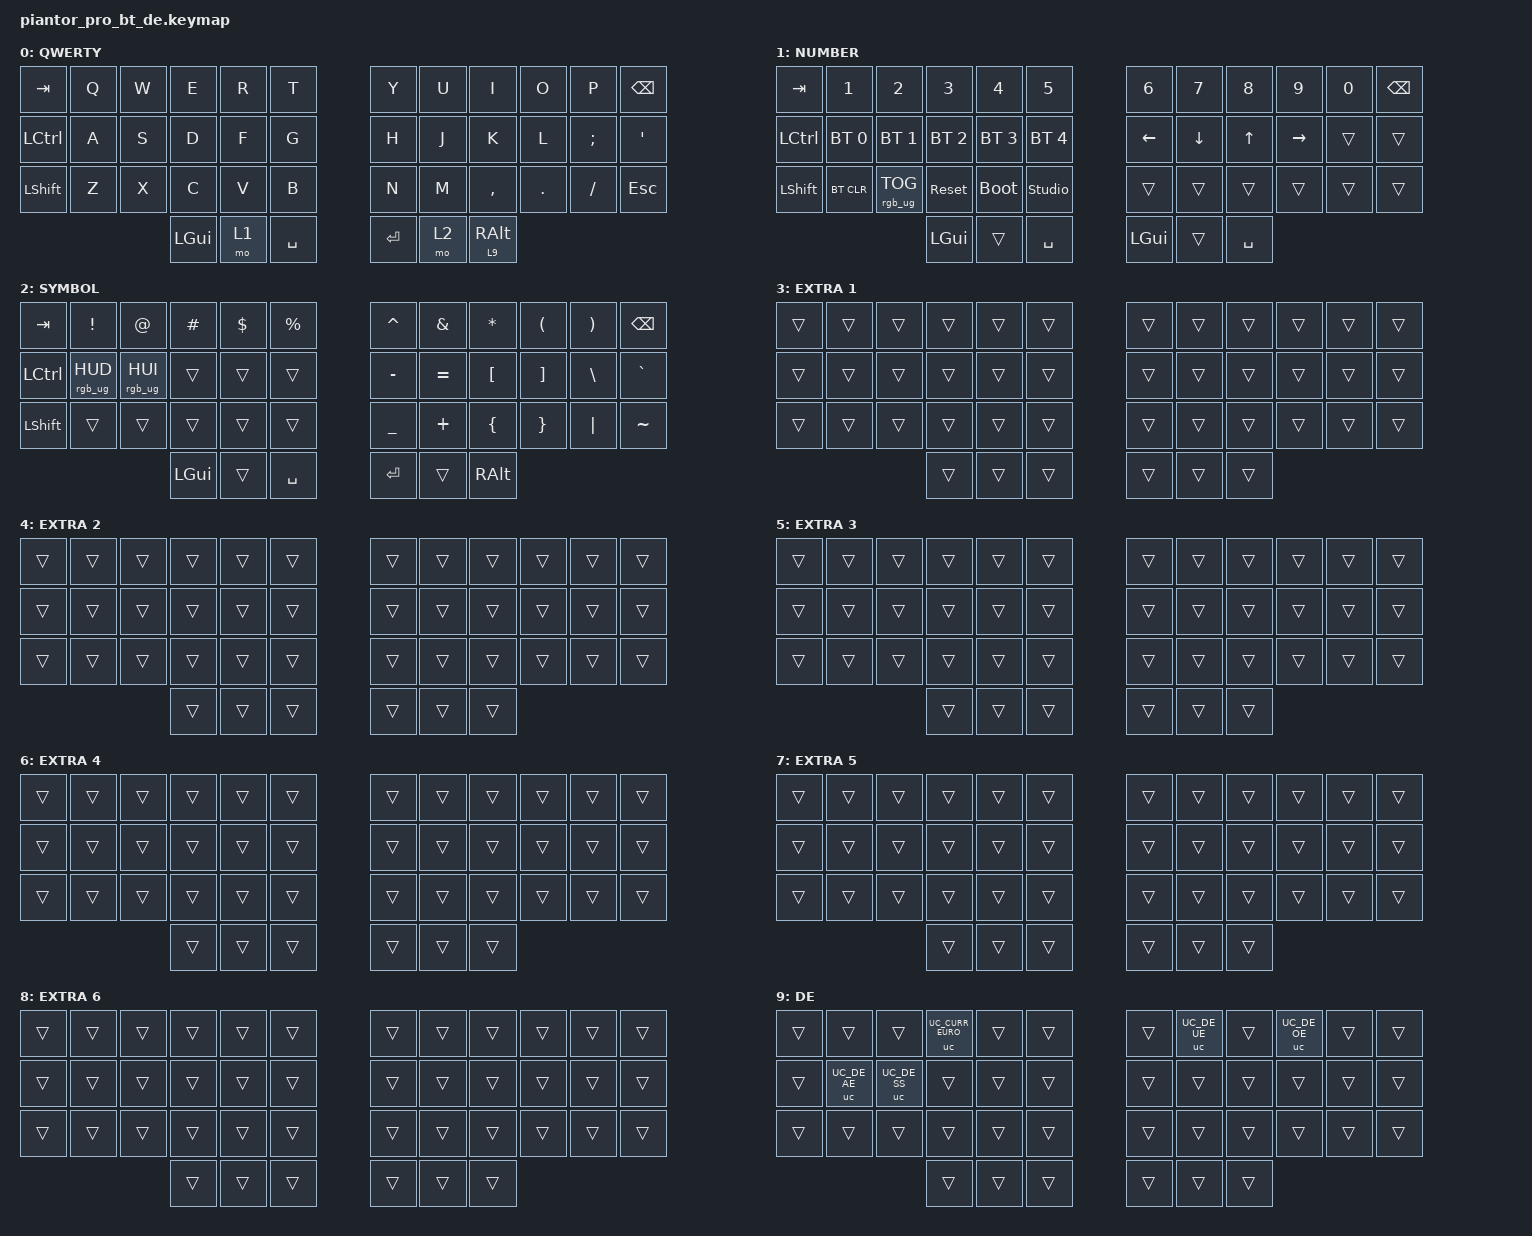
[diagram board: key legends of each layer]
/*
 * Copyright (c) 2020 The ZMK Contributors
 *
 * SPDX-License-Identifier: MIT
 */

#include <behaviors.dtsi>
#include <dt-bindings/zmk/keys.h>
#include <dt-bindings/zmk/bt.h>
#include <dt-bindings/zmk/rgb.h>
#include <behaviors/unicode.dtsi>

/ {
    chosen {
        zmk,physical-layout = &default_layout;
    };
};

/ {
    keymap {
        compatible = "zmk,keymap";

        default_layer {
            display-name = "QWERTY";
            // --------------------------------------------------------------------------------
            // |  TAB |  Q  |  W  |  E  |  R  |  T  |  Y  |  U   |  I  |  O  |  P  | BSPC |
            // | CTRL |  A  |  S  |  D  |  F  |  G  |  H  |  J   |  K  |  L  |  ;  |  '   |
            // | SHFT |  Z  |  X  |  C  |  V  |  B  |  N  |  M   |  ,  |  .  |  /  | ESC  |
            //                    | GUI | LWR | SPC | ENT | RSE  | ALT |
            bindings = <
                &kp TAB   &kp Q &kp W &kp E &kp R &kp T &kp Y &kp U  &kp I     &kp O   &kp P    &kp BSPC
                &kp LCTRL &kp A &kp S &kp D &kp F &kp G &kp H &kp J  &kp K     &kp L   &kp SEMI &kp SQT
                &kp LSHFT &kp Z &kp X &kp C &kp V &kp B &kp N &kp M  &kp COMMA &kp DOT &kp FSLH &kp ESC
                               &kp LGUI &mo 1 &kp SPACE &kp RET &mo 2 &lt 9 RALT
            >;
        };

        lower_layer {
            display-name = "NUMBER";
            // -----------------------------------------------------------------------------------------
            // |  TAB |  1  |  2  |  3  |  4  |  5    |  6  |  7  |  8  |  9  |  0  | BSPC |
            // | CTRL | BT1 | BT2 | BT3 | BT4 | BT5   | LFT | DWN |  UP | RGT |     |      |
            // | SHFT | BTCR| RGB | RST | BOOT| Unlock|     |     |     |     |     |      |
            //                    | GUI |     | SPC   | ENT |     | ALT |
            bindings = <
                &kp TAB   &kp N1       &kp N2          &kp N3       &kp N4       &kp N5         &kp N6   &kp N7   &kp N8 &kp N9    &kp N0 &kp BSPC
                &kp LCTRL &bt BT_SEL 0 &bt BT_SEL 1    &bt BT_SEL 2 &bt BT_SEL 3 &bt BT_SEL 4   &kp LEFT &kp DOWN &kp UP &kp RIGHT &trans &trans
                &kp LSHFT &bt BT_CLR   &rgb_ug RGB_TOG &sys_reset   &bootloader  &studio_unlock &trans   &trans   &trans &trans    &trans &trans
                                                       &kp LGUI     &trans       &kp SPACE      &kp LGUI &trans   &kp SPACE
            >;
        };

        raise_layer {
            display-name = "SYMBOL";
            // -----------------------------------------------------------------------------------------
            // |  TAB |  !  |  @  |  #  |  $  |  %  |  ^  |  &  |  *  |  (  |  )  | BSPC |
            // | CTRL | HUD | HUI |     |     |     |  -  |  =  |  [  |  ]  |  \  |  `   |
            // | SHFT |     |     |     |     |     |  _  |  +  |  {  |  }  | "|" |  ~   |
            //                    | GUI |     | SPC | ENT |     | ALT |
            bindings = <
                &kp  TAB  &kp EXCL        &kp AT          &kp HASH &kp DLLR &kp PRCNT &kp CARET &kp AMPS  &kp ASTRK &kp LPAR &kp RPAR &kp BSPC
                &kp LCTRL &rgb_ug RGB_HUD &rgb_ug RGB_HUI &trans   &trans   &trans    &kp MINUS &kp EQUAL &kp LBKT  &kp RBKT &kp BSLH &kp GRAVE
                &kp LSHFT &trans          &trans          &trans   &trans   &trans    &kp UNDER &kp PLUS  &kp LBRC  &kp RBRC &kp PIPE &kp TILDE
                                                          &kp LGUI &trans   &kp SPACE &kp RET   &trans   &kp RALT
            >;
        };

        extra_layer_1 {
            display-name = "EXTRA 1";
            bindings = <
                &trans &trans &trans &trans &trans &trans  &trans &trans &trans &trans &trans &trans
                &trans &trans &trans &trans &trans &trans  &trans &trans &trans &trans &trans &trans
                &trans &trans &trans &trans &trans &trans  &trans &trans &trans &trans &trans &trans
                                     &trans &trans &trans  &trans &trans &trans
            >;
        };

        extra_layer_2 {
            display-name = "EXTRA 2";
            bindings = <
                &trans &trans &trans &trans &trans &trans  &trans &trans &trans &trans &trans &trans
                &trans &trans &trans &trans &trans &trans  &trans &trans &trans &trans &trans &trans
                &trans &trans &trans &trans &trans &trans  &trans &trans &trans &trans &trans &trans
                                     &trans &trans &trans  &trans &trans &trans
            >;
        };

        extra_layer_3 {
            display-name = "EXTRA 3";
            bindings = <
                &trans &trans &trans &trans &trans &trans  &trans &trans &trans &trans &trans &trans
                &trans &trans &trans &trans &trans &trans  &trans &trans &trans &trans &trans &trans
                &trans &trans &trans &trans &trans &trans  &trans &trans &trans &trans &trans &trans
                                     &trans &trans &trans  &trans &trans &trans
            >;
        };

        extra_layer_4 {
            display-name = "EXTRA 4";
            bindings = <
                &trans &trans &trans &trans &trans &trans  &trans &trans &trans &trans &trans &trans
                &trans &trans &trans &trans &trans &trans  &trans &trans &trans &trans &trans &trans
                &trans &trans &trans &trans &trans &trans  &trans &trans &trans &trans &trans &trans
                                     &trans &trans &trans  &trans &trans &trans
            >;
        };

        extra_layer_5 {
            display-name = "EXTRA 5";
            bindings = <
                &trans &trans &trans &trans &trans &trans  &trans &trans &trans &trans &trans &trans
                &trans &trans &trans &trans &trans &trans  &trans &trans &trans &trans &trans &trans
                &trans &trans &trans &trans &trans &trans  &trans &trans &trans &trans &trans &trans
                                     &trans &trans &trans  &trans &trans &trans
            >;
        };

        extra_layer_6 {
            display-name = "EXTRA 6";
            bindings = <
                &trans &trans &trans &trans &trans &trans  &trans &trans &trans &trans &trans &trans
                &trans &trans &trans &trans &trans &trans  &trans &trans &trans &trans &trans &trans
                &trans &trans &trans &trans &trans &trans  &trans &trans &trans &trans &trans &trans
                                     &trans &trans &trans  &trans &trans &trans
            >;
        };

        de_layer {
            display-name = "DE";
            // Hold the right thumb Alt key and press the base letter.
            // A -> ae, S -> sharp s, E -> euro, U -> ue, O -> oe.
            // Shift produces the corresponding uppercase character.
            bindings = <
                &trans &trans &trans &uc UC_CURR_EURO &trans &trans &trans &uc UC_DE_UE &trans &uc UC_DE_OE &trans &trans
                &trans &uc UC_DE_AE &uc UC_DE_SS &trans &trans &trans &trans &trans &trans &trans &trans &trans
                &trans &trans &trans &trans &trans &trans &trans &trans &trans &trans &trans &trans
                                     &trans &trans &trans &trans &trans &trans
            >;
        };
    };
};
